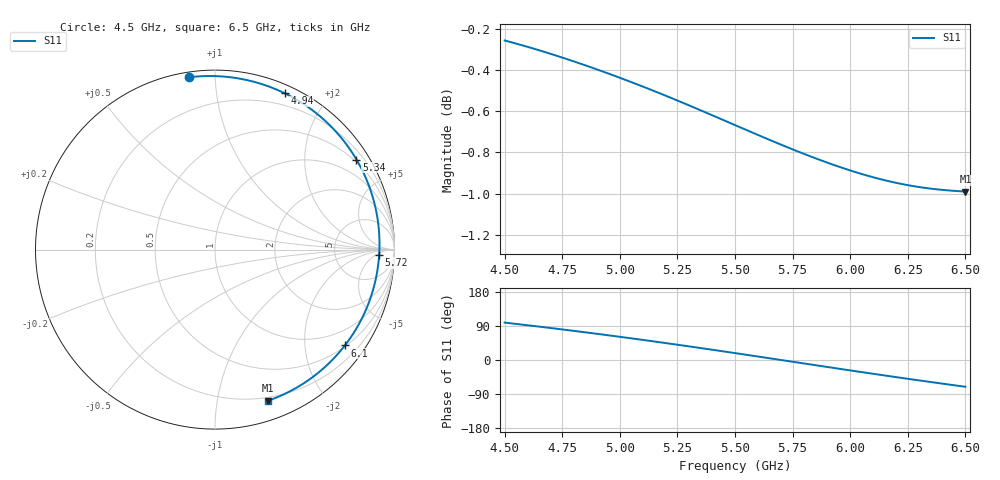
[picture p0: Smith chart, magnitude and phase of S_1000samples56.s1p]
! TOUCHSTONE file generated by CST MICROWAVE STUDIO
! Date and time: Wed Oct 26 20:25:09 2022
! Project name: L.cst
! Parameters = {Di=1.27; Epsilon_r=1.56; InnerDiameter=1.27; Length=2; Lf=10; Lg=60; OuterConductorThickness=0.2921; OuterDiameter=3.6; Wf=3; Wp=41.2; de=1.5; df=6.8; g=0.8; gx=4.9901; gy=4.83265; h=2.34; hf=1.524; px=8.43197; py=11.8415; w=9.7; wx=3.44187; wy=7.00883}
! Header version: 2018
! Port assignment regex: !\s*Touchstone port\s*([0-9]+)\s*=\s*(CST MWS port|CST DS port)\s*([0-9]+|Zmin|Zmax)\s*\(\"(.*)\"\)(\s*mode\s*([0-9]+))?.*
! Touchstone port assignment:
! Touchstone port 1 = CST MWS port 1 ("")
# GHz S DB R 50
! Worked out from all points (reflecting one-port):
!   101 points, 4.5 GHz to 6.5 GHz, reference 50 ohm
!   lowest |S11| = -1.0 dB at 6.5 GHz (marker M1), VSWR 17.56, Z = 8.47 - j69.9 ohm
!   phase of S11 starts at 99 deg and turns -169 deg over the sweep
!   S11 on the Smith chart (normalised r, x): 4.5 GHz: 0.03, +0.86; 4.94 GHz: 0.08, +1.54; 5.34 GHz: 0.43, +3.38; 5.72 GHz: 20, -7; 6.1 GHz: 0.53, -2.96; 6.5 GHz: 0.17, -1.40
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4.5  -0.26 98.7
4.58  -0.28 93.1
4.64  -0.30 88.8
4.76  -0.34 79.9
4.86  -0.38 72.3
4.94  -0.41 66.0
5  -0.44 61.2
5.12  -0.49 51.3
5.18  -0.52 46.3
5.26  -0.55 39.4
5.34  -0.59 32.5
5.42  -0.63 25.4
5.5  -0.67 18.2
5.56  -0.70 12.8
5.62  -0.72 7.3
5.72  -0.77 -1.8
5.76  -0.79 -5.5
5.82  -0.82 -11.0
5.88  -0.84 -16.5
5.94  -0.87 -22.0
6  -0.89 -27.4
6.1  -0.92 -36.4
6.18  -0.94 -43.5
6.26  -0.96 -50.5
6.32  -0.97 -55.6
6.38  -0.98 -60.7
6.44  -0.99 -65.7
6.5  -0.99 -70.6
